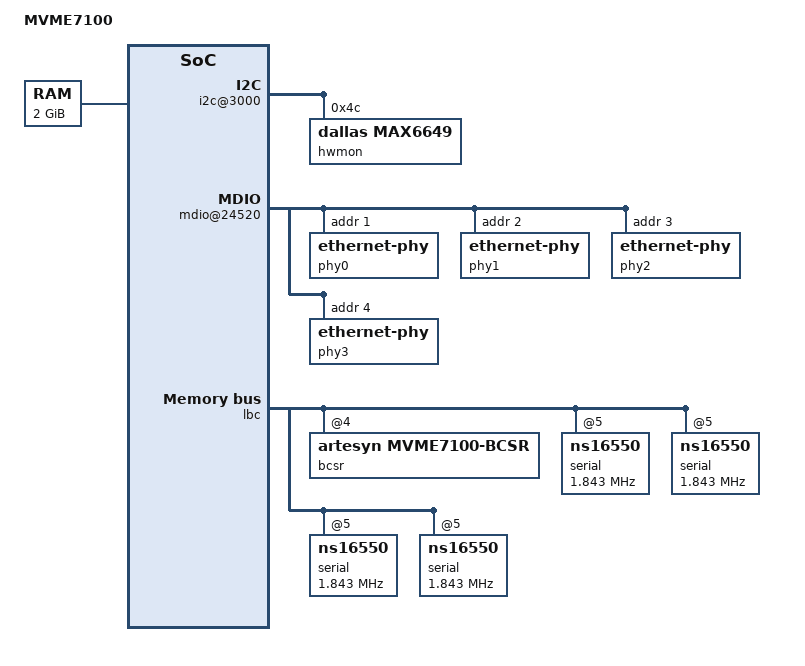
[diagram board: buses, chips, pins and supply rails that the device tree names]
/*
 * Device tree source for the Emerson/Artesyn MVME7100
 *
 * Copyright 2016 Elettra-Sincrotrone Trieste S.C.p.A.
 *
 * Author: Alessio Igor Bogani <alessio.bogani@elettra.eu>
 *
 * This program is free software; you can redistribute  it and/or modify it
 * under  the terms of  the GNU General  Public License as published by the
 * Free Software Foundation;  either version 2 of the  License, or (at your
 * option) any later version.
 *
 */

/include/ "mpc8641si-pre.dtsi"

/ {
	model = "MVME7100";
	compatible = "artesyn,MVME7100";

	memory {
		device_type = "memory";
		reg = <0x00000000 0x80000000>;
	};

	soc: soc@f1000000 {
		ranges = <0x00000000 0xf1000000 0x00100000>;

		i2c@3000 {
			hwmon@4c {
				compatible = "dallas,max6649";
				reg = <0x4c>;
			};

			rtc@68 {
				status = "disabled";
			};
		};


		enet0: ethernet@24000 {
			phy-handle = <&phy0>;
			phy-connection-type = "rgmii-id";
		};

		mdio@24520 {
			phy0: ethernet-phy@1 {
				reg = <1>;
			};
			phy1: ethernet-phy@2 {
				reg = <2>;
			};
			phy2: ethernet-phy@3 {
				reg = <3>;
			};
			phy3: ethernet-phy@4 {
				reg = <4>;
			};
		};

		enet1: ethernet@25000 {
			phy-handle = <&phy1>;
			phy-connection-type = "rgmii-id";
		};

		mdio@25520 {
			status = "disabled";
		};

		enet2: ethernet@26000 {
			phy-handle = <&phy2>;
			phy-connection-type = "rgmii-id";
		};

		mdio@26520 {
			status = "disabled";
		};

		enet3: ethernet@27000 {
			phy-handle = <&phy3>;
			phy-connection-type = "rgmii-id";
		};

		mdio@27520 {
			status = "disabled";
		};

		serial1: serial@4600 {
			status = "disabled";
		};
	};

	lbc: localbus@f1005000 {
		reg = <0xf1005000 0x1000>;

		ranges = <0 0 0xf8000000 0x08000000	// NOR Flash (128MB)
			  2 0 0xf2030000 0x00010000	// NAND Flash (8GB)
			  3 0 0xf2400000 0x00080000	// MRAM (512KB)
			  4 0 0xf2000000 0x00010000	// BCSR
			  5 0 0xf2010000 0x00010000>;	// QUART

		bcsr@4,0 {
			compatible = "artesyn,mvme7100-bcsr";
			reg = <4 0 0x10000>;
		};

		serial@5,1000 {
			device_type = "serial";
			compatible = "ns16550";
			reg = <5 0x1000 0x100>;
			clock-frequency = <1843200>;
			interrupts = <11 1 0 0>;
		};

		serial@5,2000 {
			device_type = "serial";
			compatible = "ns16550";
			reg = <5 0x2000 0x100>;
			clock-frequency = <1843200>;
			interrupts = <11 1 0 0>;
		};

		serial@5,3000 {
			device_type = "serial";
			compatible = "ns16550";
			reg = <5 0x3000 0x100>;
			clock-frequency = <1843200>;
			interrupts = <11 1 0 0>;
		};

		serial@5,4000 {
			device_type = "serial";
			compatible = "ns16550";
			reg = <5 0x4000 0x100>;
			clock-frequency = <1843200>;
			interrupts = <11 1 0 0>;
		};
	};

	pci0: pcie@f1008000 {
		status = "disabled";
	};

	pci1: pcie@f1009000 {
		status = "disabled";
	};

	chosen {
		stdout-path = &serial0;
	};
};

/include/ "mpc8641si-post.dtsi"
